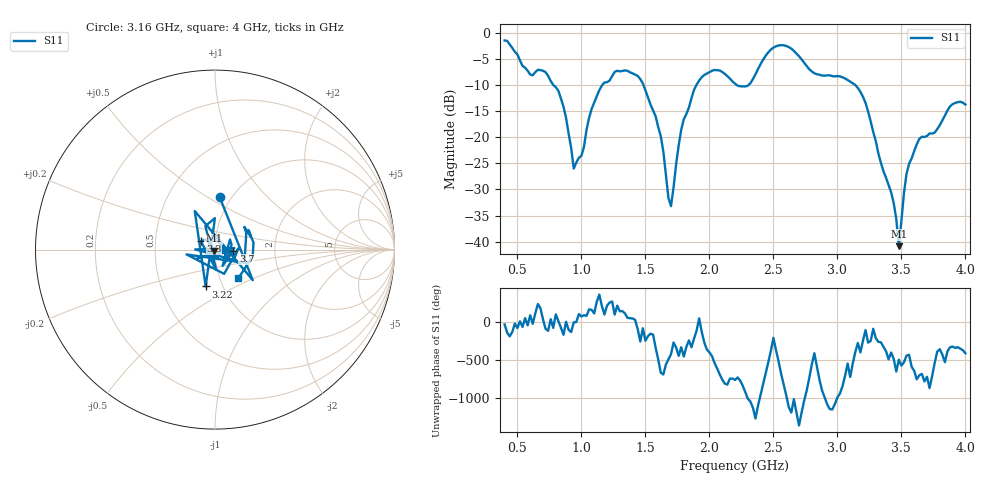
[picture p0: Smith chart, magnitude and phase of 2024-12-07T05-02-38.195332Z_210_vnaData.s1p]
!Created with skrf (http://scikit-rf.org).
# Hz S RI R 50.0
!freq ReS11 ImS11
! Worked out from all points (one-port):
!   181 points, 400 MHz to 4 GHz, reference 50 ohm
!   lowest |S11| = -40.9 dB at 3.48 GHz (marker M1), VSWR 1.02, Z = 49.3 - j0.613 ohm
!   |S11| at or under -10 dB: 779.5 MHz to 1.164 GHz (384.6 MHz wide, 39.6 % of centre); 1.484 GHz to 1.899 GHz (415.2 MHz wide, 24.5 % of centre); 3.138 GHz to end of sweep (the widest 3 of 4)
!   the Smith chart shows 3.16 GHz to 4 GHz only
!   S11 on the Smith chart (normalised r, x): 3.16 GHz: 0.88, +0.57; 3.22 GHz: 0.83, -0.36; 3.3 GHz: 0.85, +0.08; 3.7 GHz: 1.23, -0.02; 4 GHz: 1.23, -0.40
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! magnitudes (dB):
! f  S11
! 400 MHz  -1.5
! 600 MHz  -8.0
! 720 MHz  -7.6
! 860 MHz  -14.2
! 940 MHz  -26.0
! 1.14 GHz  -11.0
! 1.3 GHz  -7.4
! 1.46 GHz  -8.9
! 1.58 GHz  -16.0
! 1.7 GHz  -33.2
! 1.76 GHz  -21.6
! 1.8 GHz  -16.6
! 1.94 GHz  -8.5
! 2.2 GHz  -9.8
! 2.3 GHz  -10.2
! 2.5 GHz  -2.9
! 2.66 GHz  -3.5
! 2.82 GHz  -7.8
! 3.1 GHz  -9.4
! 3.16 GHz  -10.6
! 3.22 GHz  -13.5
! 3.3 GHz  -20.8
! 3.44 GHz  -32.6
! 3.48 GHz  -40.9
! 3.52 GHz  -30.7
! 3.56 GHz  -25.1
! 3.7 GHz  -19.8
! 4 GHz  -13.8
